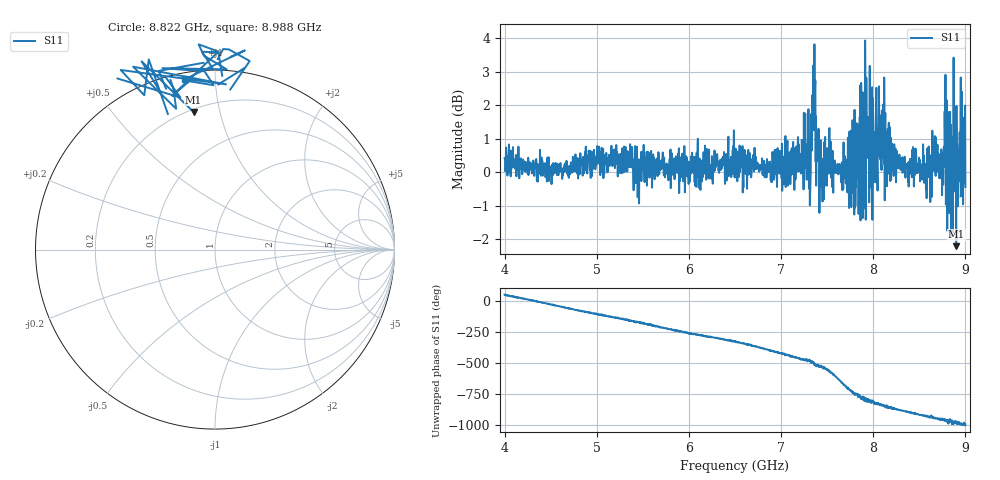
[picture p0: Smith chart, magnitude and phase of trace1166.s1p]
! Created with skrf 1.8.0 (http://scikit-rf.org).
# Hz S RI R 50.0
!freq ReS11 ImS11
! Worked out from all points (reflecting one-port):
!   1601 points, 4 GHz to 9 GHz, reference 50 ohm
!   lowest |S11| = -2.2 dB at 8.9 GHz (marker M1), VSWR 7.93, Z = 10.8 + j41.6 ohm
!   phase of S11 starts at 53 deg and turns -1048 deg over the sweep
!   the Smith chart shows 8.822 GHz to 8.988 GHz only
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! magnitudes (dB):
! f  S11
! 4 GHz  0.4
! 4.625 GHz  -0.2
! 5.25 GHz  0.0
! 5.875 GHz  0.0
! 6.5 GHz  0.5
! 7.125 GHz  0.6
! 7.272 GHz  0.2
! 7.297 GHz  1.9
! 7.35 GHz  3.2
! 7.384 GHz  0.8
! 7.4 GHz  0.4
! 7.438 GHz  -0.3
! 7.512 GHz  0.7
! 7.65 GHz  -0.2
! 7.75 GHz  0.1
! 7.825 GHz  0.4
! 7.938 GHz  1.7
! 7.997 GHz  0.3
! 8.119 GHz  2.8
! 8.375 GHz  0.2
! 8.597 GHz  -0.1
! 8.662 GHz  0.6
! 8.738 GHz  0.7
! 8.788 GHz  -1.0
! 8.841 GHz  1.4
! 8.9 GHz  -2.2
! 8.972 GHz  0.6
! 9 GHz  -0.4
